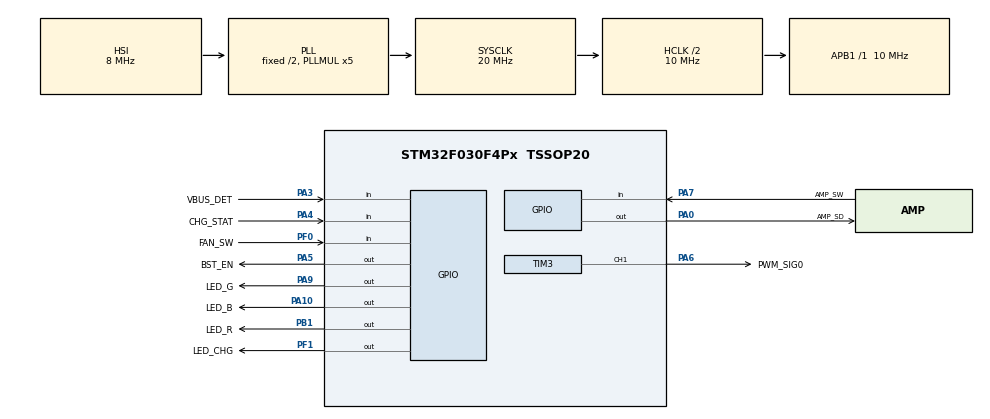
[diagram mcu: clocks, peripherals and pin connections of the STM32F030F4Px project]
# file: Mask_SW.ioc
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Mcu.Family=STM32F0
Mcu.Name=STM32F030F4Px
Mcu.Package=TSSOP20
PA0.GPIO_Label=AMP_SD
PA0.Signal=GPIO_Output
PA10.GPIO_Label=LED_B
PA10.Signal=GPIO_Output
PA13.Mode=Serial_Wire
PA13.Signal=SYS_SWDIO
PA14.Mode=Serial_Wire
PA14.Signal=SYS_SWCLK
PA3.GPIO_Label=VBUS_DET
PA3.Signal=GPIO_Input
PA4.GPIO_Label=CHG_STAT
PA4.GPIO_PuPd=GPIO_PULLUP
PA4.Signal=GPIO_Input
PA5.GPIO_Label=BST_EN
PA5.Signal=GPIO_Output
PA6.GPIO_Label=PWM_SIG0
PA6.Signal=S_TIM3_CH1
PA7.GPIO_Label=AMP_SW
PA7.Signal=GPIO_Input
PA9.GPIO_Label=LED_G
PA9.Signal=GPIO_Output
PB1.GPIO_Label=LED_R
PB1.Signal=GPIO_Output
PF0-OSC_IN.GPIO_Label=FAN_SW
PF0-OSC_IN.Signal=GPIO_Input
PF1-OSC_OUT.GPIO_Label=LED_CHG
PF1-OSC_OUT.Signal=GPIO_Output
ProjectManager.HeapSize=0x200
ProjectManager.StackSize=0x400
ProjectManager.TargetToolchain=STM32CubeIDE
RCC.AHBCLKDivider=RCC_SYSCLK_DIV2
RCC.AHBFreq_Value=10000000
RCC.APB1Freq_Value=10000000
RCC.APB1TimFreq_Value=10000000
RCC.HCLKFreq_Value=10000000
RCC.PLLMUL=RCC_PLL_MUL5
RCC.SYSCLKFreq_VALUE=20000000
RCC.SYSCLKSource=RCC_SYSCLKSOURCE_PLLCLK
SH.S_TIM3_CH1.0=TIM3_CH1,PWM Generation1 CH1
TIM3.Channel-PWM\ Generation1\ CH1=TIM_CHANNEL_1
TIM3.Period=99
TIM3.Prescaler=3
TIM3.Pulse-PWM\ Generation1\ CH1=0
VP_TIM3_VS_ClockSourceINT.Mode=Internal
board=custom

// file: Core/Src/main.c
/* USER CODE BEGIN Header */

/* USER CODE END Header */
#include "main.h"

/* USER CODE BEGIN PD */
typedef enum eLedStatus
{
    led_off = GPIO_PIN_SET,
    led_on = GPIO_PIN_RESET
} eLedStatus_t;
typedef enum eLedColor
{
    color_none,      // LED All OFF
    color_red,      // LED Color Red
    color_green,    // LED Color Green
    color_blue,     // LED Color Blue
    color_yellow,   // LED Color Yellow
    color_magenta,  // LED Color Magenta
    color_cyan,     // LED Color Cyan
    color_white     // LED Color White
} eLedColor_t;
/* USER CODE END PD */

TIM_HandleTypeDef htim3;

/* USER CODE BEGIN PV */
uint8_t fanModeCount = 0;
uint8_t ampModeCount = 0;

uint8_t voltIn = 0;
uint8_t chgStat = 1;

/* USER CODE END PV */

void SystemClock_Config(void);
static void MX_GPIO_Init(void);
static void MX_TIM3_Init(void);
/* USER CODE BEGIN PFP */
void pwmDutySet(int duty);
void ledColor(eLedStatus_t led_color);
void ledControl(eLedStatus_t led_r, eLedStatus_t led_g, eLedStatus_t led_b);
void boostEnable(GPIO_PinState bstStatus);

int uartStartMsg(void);
int gpioInit(void);
int ledInit(void);
int pwmInit(void);
/* USER CODE END PFP */

/* USER CODE BEGIN 0 */

// PWM Duty Set
void pwmDutySet(int duty)
{
    if((duty >= 0) && (duty <= 100))
    {
        if((duty == 0) || (duty == 100))
        {
            TIM3->CCR1 = ((100 / 100) * duty);
        }
        else
        {
            TIM3->CCR1 = ((100 / 100) * duty) - 1;
        }
    }
    else
    {
        TIM3->CCR1 = 0;
    }
}

// LED Color Set
void ledColor(eLedStatus_t led_color)
{
    switch(led_color)
    {
        case color_none:
            ledControl(led_off, led_off, led_off); break;
        case color_red:
            ledControl(led_on, led_off, led_off); break;
        case color_green:
            ledControl(led_off, led_on, led_off); break;
        case color_blue:
            ledControl(led_off, led_off, led_on); break;
        case color_yellow:
            ledControl(led_on, led_on, led_off); break;
        case color_magenta:
            ledControl(led_on, led_off, led_on); break;
        case color_cyan:
            ledControl(led_off, led_on, led_on); break;
        case color_white:
            ledControl(led_on, led_on, led_on); break;
        default:
            ledControl(led_off, led_off, led_off); break;
    }
}

// LED Control
void ledControl(eLedStatus_t led_r, eLedStatus_t led_g, eLedStatus_t led_b)
{
    HAL_GPIO_WritePin(LED_R_GPIO_Port, LED_R_Pin, led_r);
    HAL_GPIO_WritePin(LED_G_GPIO_Port, LED_G_Pin, led_g);
    HAL_GPIO_WritePin(LED_B_GPIO_Port, LED_B_Pin, led_b);
}

void boostEnable(GPIO_PinState bstStatus)
{
    HAL_GPIO_WritePin(BST_EN_GPIO_Port, BST_EN_Pin, bstStatus);
}

// ALL OUTPUT OFF
int gpioInit(void)
{
    HAL_GPIO_WritePin(AMP_SD_GPIO_Port, AMP_SD_Pin, GPIO_PIN_RESET); //AMP OFF
    HAL_GPIO_WritePin(BST_EN_GPIO_Port, BST_EN_Pin, GPIO_PIN_RESET); // BOOSTER OFF
    HAL_GPIO_WritePin(LED_CHG_GPIO_Port, LED_CHG_Pin, GPIO_PIN_RESET); // CHG LED OFF
}

// LED ROTATE 100ms
int ledInit(void)
{
    // RED
    ledColor(color_red);
    HAL_Delay(1000);
    // GRN
    ledColor(color_green);
    HAL_Delay(1000);
    // BLU
    ledColor(color_blue);
    HAL_Delay(1000);
    // YEL
    ledColor(color_yellow);
    HAL_Delay(1000);
    // MAGENTA
    ledColor(color_magenta);
    HAL_Delay(1000);
    // CYAN
    ledColor(color_cyan);
    HAL_Delay(1000);
    // WHT
    ledColor(color_white);
    HAL_Delay(1000);
    // None
    ledColor(color_none);
}

// PWM Start
int pwmInit(void)
{
    HAL_TIM_PWM_Start(&htim3,TIM_CHANNEL_1);
}

// FAN Control
int fanControl(void)
{
    if(HAL_GPIO_ReadPin(FAN_SW_GPIO_Port, FAN_SW_Pin) == 0)
    {
        while(HAL_GPIO_ReadPin(FAN_SW_GPIO_Port, FAN_SW_Pin) == 0);
        fanModeCount++;
        if(fanModeCount >= 4) fanModeCount = 0;
    }

    switch (fanModeCount)
    {
        case 0: // PWM OFF
            ledColor(color_none);
            boostEnable(GPIO_PIN_RESET);
            pwmDutySet(0);
            break;
        case 1: // PWM 30%
            ledColor(color_red);
            boostEnable(GPIO_PIN_SET);
            pwmDutySet(65);
            break;
        case 2: // PWM 50%
            ledColor(color_green);
            boostEnable(GPIO_PIN_SET);
            pwmDutySet(80);
            break;
        case 3: // PWM 80%
            ledColor(color_blue);
            boostEnable(GPIO_PIN_SET);
            pwmDutySet(100);
            break;
    }
}

int ampControl()
{
    if(HAL_GPIO_ReadPin(AMP_SW_GPIO_Port,AMP_SW_Pin) == 0)
    {
        while(HAL_GPIO_ReadPin(AMP_SW_GPIO_Port, AMP_SW_Pin) == 0);
        ampModeCount++;
        if(ampModeCount >= 2) ampModeCount = 0;
    }

    switch (ampModeCount)
    {
        case 0:
            HAL_GPIO_WritePin(AMP_SD_GPIO_Port, AMP_SD_Pin, GPIO_PIN_SET);
            break;

        case 1:
            HAL_GPIO_WritePin(AMP_SD_GPIO_Port, AMP_SD_Pin, GPIO_PIN_RESET);
    }

}

int chargeDetect()
{
    voltIn = HAL_GPIO_ReadPin(VBUS_DET_GPIO_Port, VBUS_DET_Pin);
    chgStat = HAL_GPIO_ReadPin(CHG_STAT_GPIO_Port, CHG_STAT_Pin);

    if(voltIn == 1)
    {
        if (chgStat == 0)
        {
            HAL_GPIO_WritePin(LED_CHG_GPIO_Port, LED_CHG_Pin, GPIO_PIN_SET);
        } else
        {
            HAL_GPIO_WritePin(LED_CHG_GPIO_Port, LED_CHG_Pin, GPIO_PIN_RESET);
        }
    }
    else
    {
        HAL_GPIO_WritePin(LED_CHG_GPIO_Port,LED_CHG_Pin,GPIO_PIN_RESET);
    }
}
/* USER CODE END 0 */

int main(void)
{

  /* MCU Configuration--------------------------------------------------------*/

  /* Reset of all peripherals, Initializes the Flash interface and the Systick. */
  HAL_Init();

  /* Configure the system clock */
  SystemClock_Config();

  /* Initialize all configured peripherals */
  MX_GPIO_Init();
  MX_TIM3_Init();
  /* USER CODE BEGIN 2 */
    pwmInit();
    gpioInit();
    ledInit();
  /* USER CODE END 2 */

  /* Infinite loop */
  /* USER CODE BEGIN WHILE */
    while (1)
    {
        chargeDetect();
        fanControl();
        ampControl();
    /* USER CODE END WHILE */

    }
}

void SystemClock_Config(void)
{
  RCC_OscInitTypeDef RCC_OscInitStruct = {0};
  RCC_ClkInitTypeDef RCC_ClkInitStruct = {0};

  /** Initializes the RCC Oscillators according to the specified parameters
  * in the RCC_OscInitTypeDef structure.
  */
  RCC_OscInitStruct.OscillatorType = RCC_OSCILLATORTYPE_HSI;
  RCC_OscInitStruct.HSIState = RCC_HSI_ON;
  RCC_OscInitStruct.HSICalibrationValue = RCC_HSICALIBRATION_DEFAULT;
  RCC_OscInitStruct.PLL.PLLState = RCC_PLL_ON;
  RCC_OscInitStruct.PLL.PLLSource = RCC_PLLSOURCE_HSI;
  RCC_OscInitStruct.PLL.PLLMUL = RCC_PLL_MUL5;
  RCC_OscInitStruct.PLL.PREDIV = RCC_PREDIV_DIV1;
  if (HAL_RCC_OscConfig(&RCC_OscInitStruct) != HAL_OK)
  {
    Error_Handler();
  }

  /** Initializes the CPU, AHB and APB buses clocks
  */
  RCC_ClkInitStruct.ClockType = RCC_CLOCKTYPE_HCLK|RCC_CLOCKTYPE_SYSCLK
                              |RCC_CLOCKTYPE_PCLK1;
  RCC_ClkInitStruct.SYSCLKSource = RCC_SYSCLKSOURCE_PLLCLK;
  RCC_ClkInitStruct.AHBCLKDivider = RCC_SYSCLK_DIV2;
  RCC_ClkInitStruct.APB1CLKDivider = RCC_HCLK_DIV1;

  if (HAL_RCC_ClockConfig(&RCC_ClkInitStruct, FLASH_LATENCY_0) != HAL_OK)
  {
    Error_Handler();
  }
}

static void MX_TIM3_Init(void)
{

  TIM_ClockConfigTypeDef sClockSourceConfig = {0};
  TIM_MasterConfigTypeDef sMasterConfig = {0};
  TIM_OC_InitTypeDef sConfigOC = {0};

  htim3.Instance = TIM3;
  htim3.Init.Prescaler = 3;
  htim3.Init.CounterMode = TIM_COUNTERMODE_UP;
  htim3.Init.Period = 99;
  htim3.Init.ClockDivision = TIM_CLOCKDIVISION_DIV1;
  htim3.Init.AutoReloadPreload = TIM_AUTORELOAD_PRELOAD_DISABLE;
  if (HAL_TIM_Base_Init(&htim3) != HAL_OK)
  {
    Error_Handler();
  }
  sClockSourceConfig.ClockSource = TIM_CLOCKSOURCE_INTERNAL;
  if (HAL_TIM_ConfigClockSource(&htim3, &sClockSourceConfig) != HAL_OK)
  {
    Error_Handler();
  }
  if (HAL_TIM_PWM_Init(&htim3) != HAL_OK)
  {
    Error_Handler();
  }
  sMasterConfig.MasterOutputTrigger = TIM_TRGO_RESET;
  sMasterConfig.MasterSlaveMode = TIM_MASTERSLAVEMODE_DISABLE;
  if (HAL_TIMEx_MasterConfigSynchronization(&htim3, &sMasterConfig) != HAL_OK)
  {
    Error_Handler();
  }
  sConfigOC.OCMode = TIM_OCMODE_PWM1;
  sConfigOC.Pulse = 0;
  sConfigOC.OCPolarity = TIM_OCPOLARITY_HIGH;
  sConfigOC.OCFastMode = TIM_OCFAST_DISABLE;
  if (HAL_TIM_PWM_ConfigChannel(&htim3, &sConfigOC, TIM_CHANNEL_1) != HAL_OK)
  {
    Error_Handler();
  }
  HAL_TIM_MspPostInit(&htim3);

}

static void MX_GPIO_Init(void)
{
  GPIO_InitTypeDef GPIO_InitStruct = {0};

  /* GPIO Ports Clock Enable */
  __HAL_RCC_GPIOF_CLK_ENABLE();
  __HAL_RCC_GPIOA_CLK_ENABLE();
  __HAL_RCC_GPIOB_CLK_ENABLE();

  /*Configure GPIO pin Output Level */
  HAL_GPIO_WritePin(LED_CHG_GPIO_Port, LED_CHG_Pin, GPIO_PIN_RESET);

  /*Configure GPIO pin Output Level */
  HAL_GPIO_WritePin(GPIOA, AMP_SD_Pin|BST_EN_Pin|LED_G_Pin|LED_B_Pin, GPIO_PIN_RESET);

  /*Configure GPIO pin Output Level */
  HAL_GPIO_WritePin(LED_R_GPIO_Port, LED_R_Pin, GPIO_PIN_RESET);

  /*Configure GPIO pin : FAN_SW_Pin */
  GPIO_InitStruct.Pin = FAN_SW_Pin;
  GPIO_InitStruct.Mode = GPIO_MODE_INPUT;
  GPIO_InitStruct.Pull = GPIO_NOPULL;
  HAL_GPIO_Init(FAN_SW_GPIO_Port, &GPIO_InitStruct);

  /*Configure GPIO pin : LED_CHG_Pin */
  GPIO_InitStruct.Pin = LED_CHG_Pin;
  GPIO_InitStruct.Mode = GPIO_MODE_OUTPUT_PP;
  GPIO_InitStruct.Pull = GPIO_NOPULL;
  GPIO_InitStruct.Speed = GPIO_SPEED_FREQ_LOW;
  HAL_GPIO_Init(LED_CHG_GPIO_Port, &GPIO_InitStruct);

  /*Configure GPIO pins : AMP_SD_Pin BST_EN_Pin LED_G_Pin LED_B_Pin */
  GPIO_InitStruct.Pin = AMP_SD_Pin|BST_EN_Pin|LED_G_Pin|LED_B_Pin;
  GPIO_InitStruct.Mode = GPIO_MODE_OUTPUT_PP;
  GPIO_InitStruct.Pull = GPIO_NOPULL;
  GPIO_InitStruct.Speed = GPIO_SPEED_FREQ_LOW;
  HAL_GPIO_Init(GPIOA, &GPIO_InitStruct);

  /*Configure GPIO pins : VBUS_DET_Pin AMP_SW_Pin */
  GPIO_InitStruct.Pin = VBUS_DET_Pin|AMP_SW_Pin;
  GPIO_InitStruct.Mode = GPIO_MODE_INPUT;
  GPIO_InitStruct.Pull = GPIO_NOPULL;
  HAL_GPIO_Init(GPIOA, &GPIO_InitStruct);

  /*Configure GPIO pin : CHG_STAT_Pin */
  GPIO_InitStruct.Pin = CHG_STAT_Pin;
  GPIO_InitStruct.Mode = GPIO_MODE_INPUT;
  GPIO_InitStruct.Pull = GPIO_PULLUP;
  HAL_GPIO_Init(CHG_STAT_GPIO_Port, &GPIO_InitStruct);

  /*Configure GPIO pin : LED_R_Pin */
  GPIO_InitStruct.Pin = LED_R_Pin;
  GPIO_InitStruct.Mode = GPIO_MODE_OUTPUT_PP;
  GPIO_InitStruct.Pull = GPIO_NOPULL;
  GPIO_InitStruct.Speed = GPIO_SPEED_FREQ_LOW;
  HAL_GPIO_Init(LED_R_GPIO_Port, &GPIO_InitStruct);

}

void Error_Handler(void)
{
    __disable_irq();
    while (1)
    {
    }
}
